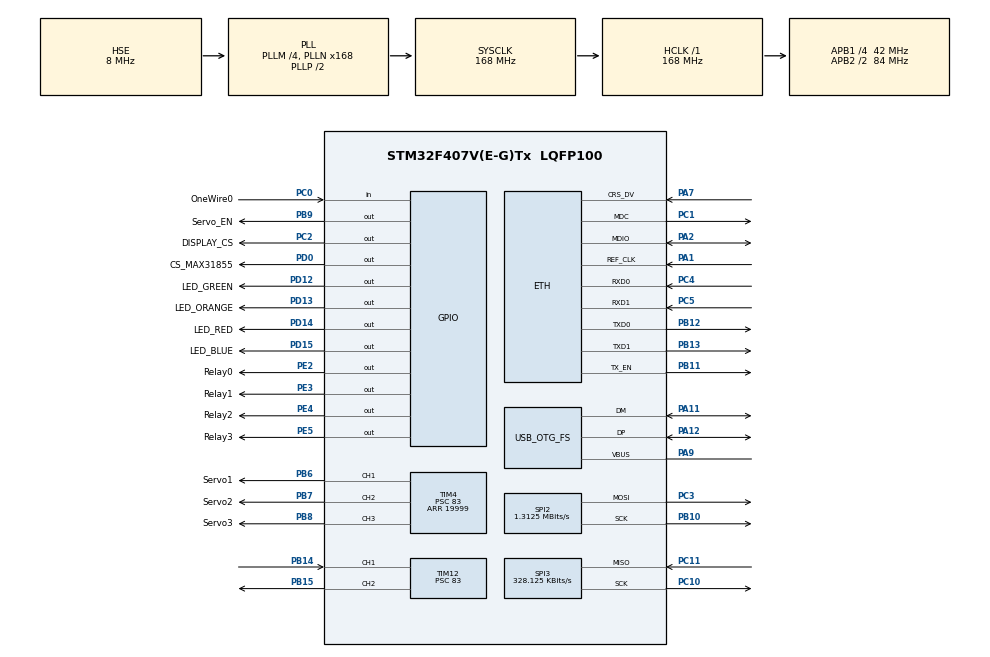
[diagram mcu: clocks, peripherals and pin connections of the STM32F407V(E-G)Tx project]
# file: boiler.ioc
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ETH.MACAddr=FC\:84\:E1\:56\:07\:81
ETH.MediaInterface=ETH_MEDIA_INTERFACE_RMII
ETH.PHY_Name_RMII=userPHY
ETH.PHY_User_Name=DP83848
FREERTOS.MEMORY_ALLOCATION=2
FREERTOS.Tasks01=defaultTask,0,512,StartDefaultTask,Default,NULL,Dynamic,NULL,NULL
FREERTOS.configGENERATE_RUN_TIME_STATS=1
FREERTOS.configTIMER_TASK_PRIORITY=3
FREERTOS.configTOTAL_HEAP_SIZE=32000
FREERTOS.configUSE_STATS_FORMATTING_FUNCTIONS=1
FREERTOS.configUSE_TIMERS=1
FREERTOS.configUSE_TRACE_FACILITY=1
LWIP.DEFAULT_THREAD_STACKSIZE=1024
LWIP.LWIP_DNS=1
LWIP.LWIP_HTTPD=1
LWIP.LWIP_NETIF_LINK_CALLBACK=1
LWIP.LWIP_NETIF_STATUS_CALLBACK=0
LWIP.TCPIP_THREAD_STACKSIZE=1024
LWIP.Version=v2.0.0_Cube
Mcu.Family=STM32F4
Mcu.Name=STM32F407V(E-G)Tx
Mcu.Package=LQFP100
NVIC.ETH_IRQn=true\:5\:0\:true\:false\:true\:true
NVIC.OTG_FS_IRQn=true\:5\:0\:true\:false\:true\:true
NVIC.PriorityGroup=NVIC_PRIORITYGROUP_4
NVIC.SPI2_IRQn=true\:9\:0\:true\:false\:true\:true
NVIC.SPI3_IRQn=true\:8\:0\:true\:false\:true\:true
NVIC.TIM1_UP_TIM10_IRQn=true\:0\:0\:false\:false\:true\:false
NVIC.TimeBase=TIM1_UP_TIM10_IRQn
NVIC.TimeBaseIP=TIM1
PA1.Mode=RMII
PA1.Signal=ETH_REF_CLK
PA11.Mode=Device_Only
PA11.Signal=USB_OTG_FS_DM
PA12.Mode=Device_Only
PA12.Signal=USB_OTG_FS_DP
PA2.Mode=RMII
PA2.Signal=ETH_MDIO
PA7.Mode=RMII
PA7.Signal=ETH_CRS_DV
PA9.Mode=Activate_VBUS
PA9.Signal=USB_OTG_FS_VBUS
PB10.Mode=TX_Only_Simplex_Unidirect_Master
PB10.Signal=SPI2_SCK
PB11.Mode=RMII
PB11.Signal=ETH_TX_EN
PB12.Mode=RMII
PB12.Signal=ETH_TXD0
PB13.Mode=RMII
PB13.Signal=ETH_TXD1
PB14.Signal=S_TIM12_CH1
PB15.Signal=S_TIM12_CH2
PB6.GPIO_Label=Servo1
PB6.GPIO_Speed=GPIO_SPEED_FREQ_VERY_HIGH
PB6.Signal=S_TIM4_CH1
PB7.GPIO_Label=Servo2
PB7.GPIO_Speed=GPIO_SPEED_FREQ_VERY_HIGH
PB7.Signal=S_TIM4_CH2
PB8.GPIO_Label=Servo3
PB8.GPIO_Speed=GPIO_SPEED_FREQ_VERY_HIGH
PB8.Signal=S_TIM4_CH3
PB9.GPIO_Label=Servo_EN
PB9.GPIO_Speed=GPIO_SPEED_FREQ_VERY_HIGH
PB9.Signal=GPIO_Output
PC0.GPIO_Label=OneWire0
PC0.GPIO_PuPd=GPIO_PULLUP
PC0.Signal=GPIO_Input
PC1.Mode=RMII
PC1.Signal=ETH_MDC
PC10.Mode=RX_Only_Simplex_Unidirect_Master
PC10.Signal=SPI3_SCK
PC11.Mode=RX_Only_Simplex_Unidirect_Master
PC11.Signal=SPI3_MISO
PC2.GPIO_Label=DISPLAY_CS
PC2.GPIO_Speed=GPIO_SPEED_FREQ_VERY_HIGH
PC2.PinState=GPIO_PIN_RESET
PC2.Signal=GPIO_Output
PC3.Mode=TX_Only_Simplex_Unidirect_Master
PC3.Signal=SPI2_MOSI
PC4.Mode=RMII
PC4.Signal=ETH_RXD0
PC5.Mode=RMII
PC5.Signal=ETH_RXD1
PD0.GPIO_Label=CS_MAX31855
PD0.GPIO_Speed=GPIO_SPEED_FREQ_VERY_HIGH
PD0.Signal=GPIO_Output
PD12.GPIO_Label=LED_GREEN
PD12.Signal=GPIO_Output
PD13.GPIO_Label=LED_ORANGE
PD13.Signal=GPIO_Output
PD14.GPIO_Label=LED_RED
PD14.Signal=GPIO_Output
PD15.GPIO_Label=LED_BLUE
PD15.Signal=GPIO_Output
PE2.GPIO_Label=Relay0
PE2.GPIO_ModeDefaultOutputPP=GPIO_MODE_OUTPUT_OD
PE2.GPIO_Speed=GPIO_SPEED_FREQ_LOW
PE2.PinState=GPIO_PIN_SET
PE2.Signal=GPIO_Output
PE3.GPIO_Label=Relay1
PE3.GPIO_ModeDefaultOutputPP=GPIO_MODE_OUTPUT_OD
PE3.PinState=GPIO_PIN_SET
PE3.Signal=GPIO_Output
PE4.GPIO_Label=Relay2
PE4.GPIO_ModeDefaultOutputPP=GPIO_MODE_OUTPUT_OD
PE4.PinState=GPIO_PIN_SET
PE4.Signal=GPIO_Output
PE5.GPIO_Label=Relay3
PE5.GPIO_ModeDefaultOutputPP=GPIO_MODE_OUTPUT_OD
PE5.PinState=GPIO_PIN_SET
PE5.Signal=GPIO_Output
PH0-OSC_IN.Mode=HSE-External-Oscillator
PH0-OSC_IN.Signal=RCC_OSC_IN
PH1-OSC_OUT.Mode=HSE-External-Oscillator
PH1-OSC_OUT.Signal=RCC_OSC_OUT
ProjectManager.HeapSize=0x200
ProjectManager.StackSize=0x400
ProjectManager.TargetToolchain=TrueSTUDIO
RCC.48MHZClocksFreq_Value=48000000
RCC.AHBFreq_Value=168000000
RCC.APB1CLKDivider=RCC_HCLK_DIV4
RCC.APB1Freq_Value=42000000
RCC.APB1TimFreq_Value=84000000
RCC.APB2CLKDivider=RCC_HCLK_DIV2
RCC.APB2Freq_Value=84000000
RCC.APB2TimFreq_Value=168000000
RCC.CortexFreq_Value=168000000
RCC.HCLKFreq_Value=168000000
RCC.HSE_VALUE=8000000
RCC.HSI_VALUE=16000000
RCC.LSE_VALUE=32768
RCC.PLLM=4
RCC.PLLN=168
RCC.PLLQ=7
RCC.SYSCLKFreq_VALUE=168000000
RCC.SYSCLKSource=RCC_SYSCLKSOURCE_PLLCLK
RCC.VCOOutputFreq_Value=336000000
SH.S_TIM12_CH1.0=TIM12_CH1,TriggerSource_TI1FP1
SH.S_TIM12_CH1.1=TIM12_CH1,Input_Capture1_from_TI1
SH.S_TIM12_CH2.0=TIM12_CH2,PWM Generation2 CH2
SH.S_TIM4_CH1.0=TIM4_CH1,PWM Generation1 CH1
SH.S_TIM4_CH2.0=TIM4_CH2,PWM Generation2 CH2
SH.S_TIM4_CH3.0=TIM4_CH3,PWM Generation3 CH3
SPI2.BaudRatePrescaler=SPI_BAUDRATEPRESCALER_32
SPI2.CLKPhase=SPI_PHASE_2EDGE
SPI2.CalculateBaudRate=1.3125 MBits/s
SPI2.Direction=SPI_DIRECTION_2LINES
SPI2.Mode=SPI_MODE_MASTER
SPI2.VirtualType=VM_MASTER
SPI3.BaudRatePrescaler=SPI_BAUDRATEPRESCALER_128
SPI3.CLKPhase=SPI_PHASE_1EDGE
SPI3.CalculateBaudRate=328.125 KBits/s
SPI3.DataSize=SPI_DATASIZE_8BIT
SPI3.Direction=SPI_DIRECTION_2LINES_RXONLY
SPI3.Mode=SPI_MODE_MASTER
SPI3.VirtualType=VM_MASTER
TIM12.Channel-Input_Capture1_from_TI1=TIM_CHANNEL_1
TIM12.Channel-PWM\ Generation2\ CH2=TIM_CHANNEL_2
TIM12.OCPolarity_2=TIM_OCPOLARITY_LOW
TIM12.Period=9999
TIM12.Prescaler=83
TIM12.Pulse-PWM\ Generation2\ CH2=9999
TIM4.Channel-PWM\ Generation1\ CH1=TIM_CHANNEL_1
TIM4.Channel-PWM\ Generation2\ CH2=TIM_CHANNEL_2
TIM4.Channel-PWM\ Generation3\ CH3=TIM_CHANNEL_3
TIM4.Period=19999
TIM4.Prescaler=83
TIM4.Pulse-PWM\ Generation1\ CH1=1500
TIM4.Pulse-PWM\ Generation2\ CH2=1500
TIM4.Pulse-PWM\ Generation3\ CH3=1500
USB_DEVICE.CLASS_NAME_FS=CDC
USB_DEVICE.MANUFACTURER_STRING-CDC_FS=by S.D.
USB_DEVICE.PRODUCT_STRING_CDC_FS=SD VCP
USB_DEVICE.VirtualModeFS=Cdc_FS
USB_OTG_FS.VirtualMode=Device_Only
VP_FREERTOS_VS_ENABLE.Mode=Enabled
VP_LWIP_VS_Enabled.Mode=Enabled
VP_SYS_VS_tim1.Mode=TIM1
VP_TIM12_VS_ControllerModeReset.Mode=Reset Mode
VP_TIM4_VS_ClockSourceINT.Mode=Internal
VP_USB_DEVICE_VS_USB_DEVICE_CDC_FS.Mode=CDC_FS
board=boiler

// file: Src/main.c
/**
  ******************************************************************************
  * File Name          : main.c
  * Description        : Main program body
  ******************************************************************************
  * This notice applies to any and all portions of this file
  * that are not between comment pairs USER CODE BEGIN and
  * USER CODE END. Other portions of this file, whether
  * inserted by the user or by software development tools
  * are owned by their respective copyright owners.
  *
  * Copyright (c) 2017 STMicroelectronics International N.V.
  * All rights reserved.
  *
  * Redistribution and use in source and binary forms, with or without
  * modification, are permitted, provided that the following conditions are met:
  *
  * 1. Redistribution of source code must retain the above copyright notice,
  *    this list of conditions and the following disclaimer.
  * 2. Redistributions in binary form must reproduce the above copyright notice,
  *    this list of conditions and the following disclaimer in the documentation
  *    and/or other materials provided with the distribution.
  * 3. Neither the name of STMicroelectronics nor the names of other
  *    contributors to this software may be used to endorse or promote products
  *    derived from this software without specific written permission.
  * 4. This software, including modifications and/or derivative works of this
  *    software, must execute solely and exclusively on microcontroller or
  *    microprocessor devices manufactured by or for STMicroelectronics.
  * 5. Redistribution and use of this software other than as permitted under
  *    this license is void and will automatically terminate your rights under
  *    this license.
  *
  * THIS SOFTWARE IS PROVIDED BY STMICROELECTRONICS AND CONTRIBUTORS "AS IS"
  * AND ANY EXPRESS, IMPLIED OR STATUTORY WARRANTIES, INCLUDING, BUT NOT
  * LIMITED TO, THE IMPLIED WARRANTIES OF MERCHANTABILITY, FITNESS FOR A
  * PARTICULAR PURPOSE AND NON-INFRINGEMENT OF THIRD PARTY INTELLECTUAL PROPERTY
  * RIGHTS ARE DISCLAIMED TO THE FULLEST EXTENT PERMITTED BY LAW. IN NO EVENT
  * SHALL STMICROELECTRONICS OR CONTRIBUTORS BE LIABLE FOR ANY DIRECT, INDIRECT,
  * INCIDENTAL, SPECIAL, EXEMPLARY, OR CONSEQUENTIAL DAMAGES (INCLUDING, BUT NOT
  * LIMITED TO, PROCUREMENT OF SUBSTITUTE GOODS OR SERVICES; LOSS OF USE, DATA,
  * OR PROFITS; OR BUSINESS INTERRUPTION) HOWEVER CAUSED AND ON ANY THEORY OF
  * LIABILITY, WHETHER IN CONTRACT, STRICT LIABILITY, OR TORT (INCLUDING
  * NEGLIGENCE OR OTHERWISE) ARISING IN ANY WAY OUT OF THE USE OF THIS SOFTWARE,
  * EVEN IF ADVISED OF THE POSSIBILITY OF SUCH DAMAGE.
  *
  ******************************************************************************
  */
#include "main.h"
#include "stm32f4xx_hal.h"
#include "cmsis_os.h"
#include "lwip.h"
#include "usb_device.h"

/* USER CODE BEGIN Includes */
#include "u8g_stm32_hal.h"
#include "tm_stm32_ds18b20.h"
#include "max31855_stm32_hal.h"
#include "httpcgi.h"
#include "acpowerctrl.h"
/* USER CODE END Includes */

SPI_HandleTypeDef hspi2;
SPI_HandleTypeDef hspi3;

TIM_HandleTypeDef htim4;
TIM_HandleTypeDef htim12;

osThreadId defaultTaskHandle;

/* USER CODE BEGIN PV */
/* Private variables ---------------------------------------------------------*/
u8g_t u8g;
extern struct netif gnetif;
/* USER CODE END PV */

void SystemClock_Config(void);
static void MX_GPIO_Init(void);
static void MX_SPI2_Init(void);
static void MX_SPI3_Init(void);
static void MX_TIM4_Init(void);
static void MX_TIM12_Init(void);
void StartDefaultTask(void const * argument);

void HAL_TIM_MspPostInit(TIM_HandleTypeDef *htim);

/* USER CODE BEGIN PFP */
/* Private function prototypes -----------------------------------------------*/
void max_tc_init();

/* USER CODE END PFP */

int main(void)
{

    /* MCU Configuration----------------------------------------------------------*/

    /* Reset of all peripherals, Initializes the Flash interface and the Systick. */
    HAL_Init();

    /* Configure the system clock */
    SystemClock_Config();

  /* Initialize all configured peripherals */
  MX_GPIO_Init();
  MX_SPI2_Init();
  MX_SPI3_Init();
  MX_TIM4_Init();
  MX_TIM12_Init();

    /* USER CODE BEGIN 2 */
    max_tc_init();
    acInit(&htim12);
  /* USER CODE END 2 */

    /* Create the thread(s) */
    /* definition and creation of defaultTask */
    osThreadDef(defaultTask, StartDefaultTask, osPriorityNormal, 0, 512);
    defaultTaskHandle = osThreadCreate(osThread(defaultTask), NULL);

    /* Start scheduler */
    osKernelStart();

    /* We should never get here as control is now taken by the scheduler */

    /* Infinite loop */
    while (1)
    {

    }

}

/** System Clock Configuration
*/
void SystemClock_Config(void)
{

    RCC_OscInitTypeDef RCC_OscInitStruct;
    RCC_ClkInitTypeDef RCC_ClkInitStruct;

    /**Configure the main internal regulator output voltage
    */
    __HAL_RCC_PWR_CLK_ENABLE();

    __HAL_PWR_VOLTAGESCALING_CONFIG(PWR_REGULATOR_VOLTAGE_SCALE1);

    /**Initializes the CPU, AHB and APB busses clocks
    */
    RCC_OscInitStruct.OscillatorType = RCC_OSCILLATORTYPE_HSE;
    RCC_OscInitStruct.HSEState = RCC_HSE_ON;
    RCC_OscInitStruct.PLL.PLLState = RCC_PLL_ON;
    RCC_OscInitStruct.PLL.PLLSource = RCC_PLLSOURCE_HSE;
    RCC_OscInitStruct.PLL.PLLM = 4;
    RCC_OscInitStruct.PLL.PLLN = 168;
    RCC_OscInitStruct.PLL.PLLP = RCC_PLLP_DIV2;
    RCC_OscInitStruct.PLL.PLLQ = 7;
    if (HAL_RCC_OscConfig(&RCC_OscInitStruct) != HAL_OK)
    {
        _Error_Handler(__FILE__, __LINE__);
    }

    /**Initializes the CPU, AHB and APB busses clocks
    */
    RCC_ClkInitStruct.ClockType = RCC_CLOCKTYPE_HCLK|RCC_CLOCKTYPE_SYSCLK
            |RCC_CLOCKTYPE_PCLK1|RCC_CLOCKTYPE_PCLK2;
    RCC_ClkInitStruct.SYSCLKSource = RCC_SYSCLKSOURCE_PLLCLK;
    RCC_ClkInitStruct.AHBCLKDivider = RCC_SYSCLK_DIV1;
    RCC_ClkInitStruct.APB1CLKDivider = RCC_HCLK_DIV4;
    RCC_ClkInitStruct.APB2CLKDivider = RCC_HCLK_DIV2;

    if (HAL_RCC_ClockConfig(&RCC_ClkInitStruct, FLASH_LATENCY_5) != HAL_OK)
    {
        _Error_Handler(__FILE__, __LINE__);
    }

    /**Configure the Systick interrupt time
    */
    HAL_SYSTICK_Config(HAL_RCC_GetHCLKFreq()/1000);

    /**Configure the Systick
    */
    HAL_SYSTICK_CLKSourceConfig(SYSTICK_CLKSOURCE_HCLK);

    /* SysTick_IRQn interrupt configuration */
    HAL_NVIC_SetPriority(SysTick_IRQn, 15, 0);
}

/* SPI2 init function */
static void MX_SPI2_Init(void)
{

    hspi2.Instance = SPI2;
    hspi2.Init.Mode = SPI_MODE_MASTER;
    hspi2.Init.Direction = SPI_DIRECTION_2LINES;
    hspi2.Init.DataSize = SPI_DATASIZE_8BIT;
    hspi2.Init.CLKPolarity = SPI_POLARITY_LOW;
    hspi2.Init.CLKPhase = SPI_PHASE_2EDGE;
    hspi2.Init.NSS = SPI_NSS_SOFT;
    hspi2.Init.BaudRatePrescaler = SPI_BAUDRATEPRESCALER_32;
    hspi2.Init.FirstBit = SPI_FIRSTBIT_MSB;
    hspi2.Init.TIMode = SPI_TIMODE_DISABLE;
    hspi2.Init.CRCCalculation = SPI_CRCCALCULATION_DISABLE;
    hspi2.Init.CRCPolynomial = 10;
    if (HAL_SPI_Init(&hspi2) != HAL_OK)
    {
        _Error_Handler(__FILE__, __LINE__);
    }

}

/* SPI3 init function */
static void MX_SPI3_Init(void)
{

    hspi3.Instance = SPI3;
    hspi3.Init.Mode = SPI_MODE_MASTER;
    hspi3.Init.Direction = SPI_DIRECTION_2LINES_RXONLY;
    hspi3.Init.DataSize = SPI_DATASIZE_8BIT;
    hspi3.Init.CLKPolarity = SPI_POLARITY_LOW;
    hspi3.Init.CLKPhase = SPI_PHASE_1EDGE;
    hspi3.Init.NSS = SPI_NSS_SOFT;
    hspi3.Init.BaudRatePrescaler = SPI_BAUDRATEPRESCALER_128;
    hspi3.Init.FirstBit = SPI_FIRSTBIT_MSB;
    hspi3.Init.TIMode = SPI_TIMODE_DISABLE;
    hspi3.Init.CRCCalculation = SPI_CRCCALCULATION_DISABLE;
    hspi3.Init.CRCPolynomial = 10;
    if (HAL_SPI_Init(&hspi3) != HAL_OK)
    {
        _Error_Handler(__FILE__, __LINE__);
    }

}

/* TIM4 init function */
static void MX_TIM4_Init(void)
{
  TIM_ClockConfigTypeDef sClockSourceConfig;
  TIM_MasterConfigTypeDef sMasterConfig;
  TIM_OC_InitTypeDef sConfigOC;

  htim4.Instance = TIM4;
  htim4.Init.Prescaler = 83;
  htim4.Init.CounterMode = TIM_COUNTERMODE_UP;
  htim4.Init.Period = 19999;
  htim4.Init.ClockDivision = TIM_CLOCKDIVISION_DIV1;
  if (HAL_TIM_Base_Init(&htim4) != HAL_OK)
  {
    _Error_Handler(__FILE__, __LINE__);
  }

  sClockSourceConfig.ClockSource = TIM_CLOCKSOURCE_INTERNAL;
  if (HAL_TIM_ConfigClockSource(&htim4, &sClockSourceConfig) != HAL_OK)
  {
    _Error_Handler(__FILE__, __LINE__);
  }

  if (HAL_TIM_PWM_Init(&htim4) != HAL_OK)
  {
    _Error_Handler(__FILE__, __LINE__);
  }

  sMasterConfig.MasterOutputTrigger = TIM_TRGO_RESET;
  sMasterConfig.MasterSlaveMode = TIM_MASTERSLAVEMODE_DISABLE;
  if (HAL_TIMEx_MasterConfigSynchronization(&htim4, &sMasterConfig) != HAL_OK)
  {
    _Error_Handler(__FILE__, __LINE__);
  }

  sConfigOC.OCMode = TIM_OCMODE_PWM1;
  sConfigOC.Pulse = 1500;
  sConfigOC.OCPolarity = TIM_OCPOLARITY_HIGH;
  sConfigOC.OCFastMode = TIM_OCFAST_DISABLE;
  if (HAL_TIM_PWM_ConfigChannel(&htim4, &sConfigOC, TIM_CHANNEL_1) != HAL_OK)
  {
    _Error_Handler(__FILE__, __LINE__);
  }

  if (HAL_TIM_PWM_ConfigChannel(&htim4, &sConfigOC, TIM_CHANNEL_2) != HAL_OK)
  {
    _Error_Handler(__FILE__, __LINE__);
  }

  if (HAL_TIM_PWM_ConfigChannel(&htim4, &sConfigOC, TIM_CHANNEL_3) != HAL_OK)
  {
    _Error_Handler(__FILE__, __LINE__);
  }

  HAL_TIM_MspPostInit(&htim4);

}

/* TIM12 init function */
static void MX_TIM12_Init(void)
{

  TIM_SlaveConfigTypeDef sSlaveConfig;
  TIM_IC_InitTypeDef sConfigIC;
  TIM_OC_InitTypeDef sConfigOC;

  htim12.Instance = TIM12;
  htim12.Init.Prescaler = 83;
  htim12.Init.CounterMode = TIM_COUNTERMODE_UP;
  htim12.Init.Period = 9999;
  htim12.Init.ClockDivision = TIM_CLOCKDIVISION_DIV1;
  if (HAL_TIM_Base_Init(&htim12) != HAL_OK)
  {
    _Error_Handler(__FILE__, __LINE__);
  }

  if (HAL_TIM_IC_Init(&htim12) != HAL_OK)
  {
    _Error_Handler(__FILE__, __LINE__);
  }

  if (HAL_TIM_PWM_Init(&htim12) != HAL_OK)
  {
    _Error_Handler(__FILE__, __LINE__);
  }

  sSlaveConfig.SlaveMode = TIM_SLAVEMODE_RESET;
  sSlaveConfig.InputTrigger = TIM_TS_TI1FP1;
  sSlaveConfig.TriggerPolarity = TIM_INPUTCHANNELPOLARITY_RISING;
  sSlaveConfig.TriggerFilter = 0;
  if (HAL_TIM_SlaveConfigSynchronization(&htim12, &sSlaveConfig) != HAL_OK)
  {
    _Error_Handler(__FILE__, __LINE__);
  }

  sConfigIC.ICPolarity = TIM_INPUTCHANNELPOLARITY_RISING;
  sConfigIC.ICSelection = TIM_ICSELECTION_DIRECTTI;
  sConfigIC.ICPrescaler = TIM_ICPSC_DIV1;
  sConfigIC.ICFilter = 0;
  if (HAL_TIM_IC_ConfigChannel(&htim12, &sConfigIC, TIM_CHANNEL_1) != HAL_OK)
  {
    _Error_Handler(__FILE__, __LINE__);
  }

  sConfigOC.OCMode = TIM_OCMODE_PWM1;
  sConfigOC.Pulse = 9999;
  sConfigOC.OCPolarity = TIM_OCPOLARITY_LOW;
  sConfigOC.OCFastMode = TIM_OCFAST_DISABLE;
  if (HAL_TIM_PWM_ConfigChannel(&htim12, &sConfigOC, TIM_CHANNEL_2) != HAL_OK)
  {
    _Error_Handler(__FILE__, __LINE__);
  }

  HAL_TIM_MspPostInit(&htim12);

}

/** Configure pins as
        * Analog
        * Input
=======
    TIM_ClockConfigTypeDef sClockSourceConfig;
    TIM_MasterConfigTypeDef sMasterConfig;
    TIM_OC_InitTypeDef sConfigOC;

    htim4.Instance = TIM4;
    htim4.Init.Prescaler = 84; //todo: prescaler 83, period 19999
    htim4.Init.CounterMode = TIM_COUNTERMODE_UP;
    htim4.Init.Period = 20000;
    htim4.Init.ClockDivision = TIM_CLOCKDIVISION_DIV1;
    if (HAL_TIM_Base_Init(&htim4) != HAL_OK)
    {
        _Error_Handler(__FILE__, __LINE__);
    }

    sClockSourceConfig.ClockSource = TIM_CLOCKSOURCE_INTERNAL;
    if (HAL_TIM_ConfigClockSource(&htim4, &sClockSourceConfig) != HAL_OK)
    {
        _Error_Handler(__FILE__, __LINE__);
    }

    if (HAL_TIM_PWM_Init(&htim4) != HAL_OK)
    {
        _Error_Handler(__FILE__, __LINE__);
    }

    sMasterConfig.MasterOutputTrigger = TIM_TRGO_RESET;
    sMasterConfig.MasterSlaveMode = TIM_MASTERSLAVEMODE_DISABLE;
    if (HAL_TIMEx_MasterConfigSynchronization(&htim4, &sMasterConfig) != HAL_OK)
    {
        _Error_Handler(__FILE__, __LINE__);
    }

    sConfigOC.OCMode = TIM_OCMODE_PWM1;
    sConfigOC.Pulse = 1500;
    sConfigOC.OCPolarity = TIM_OCPOLARITY_HIGH;
    sConfigOC.OCFastMode = TIM_OCFAST_DISABLE;
    if (HAL_TIM_PWM_ConfigChannel(&htim4, &sConfigOC, TIM_CHANNEL_1) != HAL_OK)
    {
        _Error_Handler(__FILE__, __LINE__);
    }

    if (HAL_TIM_PWM_ConfigChannel(&htim4, &sConfigOC, TIM_CHANNEL_2) != HAL_OK)
    {
        _Error_Handler(__FILE__, __LINE__);
    }

    if (HAL_TIM_PWM_ConfigChannel(&htim4, &sConfigOC, TIM_CHANNEL_3) != HAL_OK)
    {
        _Error_Handler(__FILE__, __LINE__);
    }

    HAL_TIM_MspPostInit(&htim4);

}

/** Configure pins as
        * Analog
        * Input
>>>>>>> origin/master
        * Output
        * EVENT_OUT
        * EXTI
*/
static void MX_GPIO_Init(void)
{

    GPIO_InitTypeDef GPIO_InitStruct;

    /* GPIO Ports Clock Enable */
    __HAL_RCC_GPIOE_CLK_ENABLE();
    __HAL_RCC_GPIOH_CLK_ENABLE();
    __HAL_RCC_GPIOC_CLK_ENABLE();
    __HAL_RCC_GPIOA_CLK_ENABLE();
    __HAL_RCC_GPIOB_CLK_ENABLE();
    __HAL_RCC_GPIOD_CLK_ENABLE();

    /*Configure GPIO pin Output Level */
    HAL_GPIO_WritePin(GPIOE, Relay0_Pin|Relay1_Pin|Relay2_Pin|Relay3_Pin, GPIO_PIN_SET);

    /*Configure GPIO pin Output Level */
    HAL_GPIO_WritePin(DISPLAY_CS_GPIO_Port, DISPLAY_CS_Pin, GPIO_PIN_RESET);

    /*Configure GPIO pin Output Level */
    HAL_GPIO_WritePin(GPIOD, LED_GREEN_Pin|LED_ORANGE_Pin|LED_RED_Pin|LED_BLUE_Pin
                      |CS_MAX31855_Pin, GPIO_PIN_RESET);

    /*Configure GPIO pin Output Level */
    HAL_GPIO_WritePin(Servo_EN_GPIO_Port, Servo_EN_Pin, GPIO_PIN_RESET);

    /*Configure GPIO pins : Relay0_Pin Relay1_Pin Relay2_Pin Relay3_Pin */
    GPIO_InitStruct.Pin = Relay0_Pin|Relay1_Pin|Relay2_Pin|Relay3_Pin;
    GPIO_InitStruct.Mode = GPIO_MODE_OUTPUT_OD;
    GPIO_InitStruct.Pull = GPIO_NOPULL;
    GPIO_InitStruct.Speed = GPIO_SPEED_FREQ_LOW;
    HAL_GPIO_Init(GPIOE, &GPIO_InitStruct);

    /*Configure GPIO pin : OneWire0_Pin */
    GPIO_InitStruct.Pin = OneWire0_Pin;
    GPIO_InitStruct.Mode = GPIO_MODE_INPUT;
    GPIO_InitStruct.Pull = GPIO_PULLUP;
    HAL_GPIO_Init(OneWire0_GPIO_Port, &GPIO_InitStruct);

    /*Configure GPIO pin : DISPLAY_CS_Pin */
    GPIO_InitStruct.Pin = DISPLAY_CS_Pin;
    GPIO_InitStruct.Mode = GPIO_MODE_OUTPUT_PP;
    GPIO_InitStruct.Pull = GPIO_NOPULL;
    GPIO_InitStruct.Speed = GPIO_SPEED_FREQ_VERY_HIGH;
    HAL_GPIO_Init(DISPLAY_CS_GPIO_Port, &GPIO_InitStruct);

    /*Configure GPIO pins : LED_GREEN_Pin LED_ORANGE_Pin LED_RED_Pin LED_BLUE_Pin */
    GPIO_InitStruct.Pin = LED_GREEN_Pin|LED_ORANGE_Pin|LED_RED_Pin|LED_BLUE_Pin;
    GPIO_InitStruct.Mode = GPIO_MODE_OUTPUT_PP;
    GPIO_InitStruct.Pull = GPIO_NOPULL;
    GPIO_InitStruct.Speed = GPIO_SPEED_FREQ_LOW;
    HAL_GPIO_Init(GPIOD, &GPIO_InitStruct);

    /*Configure GPIO pin : CS_MAX31855_Pin */
    GPIO_InitStruct.Pin = CS_MAX31855_Pin;
    GPIO_InitStruct.Mode = GPIO_MODE_OUTPUT_PP;
    GPIO_InitStruct.Pull = GPIO_NOPULL;
    GPIO_InitStruct.Speed = GPIO_SPEED_FREQ_VERY_HIGH;
    HAL_GPIO_Init(CS_MAX31855_GPIO_Port, &GPIO_InitStruct);

    /*Configure GPIO pin : Servo_EN_Pin */
    GPIO_InitStruct.Pin = Servo_EN_Pin;
    GPIO_InitStruct.Mode = GPIO_MODE_OUTPUT_PP;
    GPIO_InitStruct.Pull = GPIO_NOPULL;
    GPIO_InitStruct.Speed = GPIO_SPEED_FREQ_VERY_HIGH;
    HAL_GPIO_Init(Servo_EN_GPIO_Port, &GPIO_InitStruct);

}

/* USER CODE BEGIN 4 */
max31855_h maxtc;

void max_tc_init()
{
    maxtc.hspi = &hspi3;
    maxtc.CS_port = CS_MAX31855_GPIO_Port;
    maxtc.CS_pin = CS_MAX31855_Pin;
    max31855_init(&maxtc);
}

void HAL_SPI_RxCpltCallback(SPI_HandleTypeDef *hspi)
{
    if(hspi == maxtc.hspi)
        max31855_recvd_handler(&maxtc);
}

/* USER CODE END 4 */

/* StartDefaultTask function */
void StartDefaultTask(void const * argument)
{
    /* init code for LWIP */
    MX_LWIP_Init();

    /* init code for USB_DEVICE */
    MX_USB_DEVICE_Init();

    /* USER CODE BEGIN 5 */

    /* Onewire structure */
    TM_OneWire_t OW;
    /* Array for DS18B20 ROM number */
    uint8_t DS_ROM[8];
    /* Temperature variable */
    float temp;

    u8g_setSpiIface(&hspi2,DISPLAY_CS_GPIO_Port,DISPLAY_CS_Pin);
    u8g_InitComFn(&u8g, &u8g_dev_st7920_128x64_hw_spi, u8g_com_STM32_hal_hw_fn);
    u8g_SetRot180(&u8g);

    TM_OneWire_Init(&OW, OneWire0_GPIO_Port, OneWire0_Pin);

    //    struct tcp_pcb * server =
    //initServer(1500);
    initHttpCgiServer();

    uint32_t i = 0;

    /* Infinite loop */
    for(;;)
    {
        i++;

//        uint8_t ret = 0;
//        if (TM_OneWire_First(&OW))
//            TM_OneWire_GetFullROM(&OW, DS_ROM);
//        if (TM_DS18B20_Is(DS_ROM))
//            /* Everything is done */
//            if (TM_DS18B20_AllDone(&OW))
//                /* Read temperature from device */
//                if (TM_DS18B20_Read(&OW, DS_ROM, &temp)){
//                    ret = 1;
//                    TM_DS18B20_StartAll(&OW);
//                }

        char buff[45];

        static uint16_t fps_counter = 0;
        fps_counter++;

        u8g_FirstPage(&u8g);
        do
        {

//            u8g_SetFont(&u8g, u8g_font_6x10);//выбор шрифта
//            if (ret) {
//                sprintf(buff, "..:%X:%X", DS_ROM[1],DS_ROM[0]);
//                u8g_DrawStr(&u8g, 2, 12, buff);
//                sprintf(buff, "Temp: %ld,%02ld`C", (int32_t)temp, ((int32_t)(temp*100)%100));
//                u8g_DrawStr(&u8g, 40, 12, buff);

//            }
//            else {
//                u8g_DrawStr(&u8g, 2, 12, "Nothing on line");;
//            }

            /*** fps counter ***/
#define FPS_COUNTER_PERIOD 1000
#define MSEC_IN_SEC 1000

            static uint16_t fps = 0;
            static uint32_t last_time = 0;
            uint32_t time = HAL_GetTick() - last_time;
            if (time >= FPS_COUNTER_PERIOD){
                last_time = HAL_GetTick();
                fps = (fps_counter*MSEC_IN_SEC)/time;
                fps_counter = 0;
            }
            u8g_SetFont(&u8g, u8g_font_5x7);
            sprintf(buff, "fps:%d", fps);
            u8g_DrawStr(&u8g, 95, 12, buff);
            /*****/

            /*** network ***/
            u8g_SetFont(&u8g, u8g_font_6x10);
            sprintf(buff, "Stat: %d %d %d %d",
                    (gnetif.flags&0x8)>>3, (gnetif.flags&0x4)>>2,
                    (gnetif.flags&0x2)>>1, gnetif.flags&0x1);
            u8g_DrawStr(&u8g, 2, 36, buff);

            sprintf(buff, "%lu", i);
            u8g_DrawStr90(&u8g, 115, 18, buff);

            sprintf(buff, "ip: %d.%d.%d.%d", ip4_addr1(&gnetif.ip_addr), ip4_addr2(&gnetif.ip_addr), ip4_addr3(&gnetif.ip_addr), ip4_addr4(&gnetif.ip_addr));
            u8g_DrawStr(&u8g, 2, 48, buff);

            sprintf(buff, "er: %d%d%d%d", maxtc.err>>3&0x1, maxtc.err>>2&0x1,
                    maxtc.err>>1&0x1, maxtc.err&0x1);
            u8g_DrawStr(&u8g, 70, 60, buff);
            /*****/

            /*** max31855 ***/
            u8g_SetFont(&u8g, u8g_font_4x6);//выбор шрифта

            sprintf(buff, "slf: %d", (uint16_t)max31855_getSelfTemp(&maxtc));
            u8g_DrawStr(&u8g, 2, 56, buff);

            sprintf(buff, "tc:  %d", (int16_t)max31855_getTemp(&maxtc));
            u8g_DrawStr(&u8g, 2, 62, buff);
            /*****/

        } while ( u8g_NextPage(&u8g) );

    }
    /* USER CODE END 5 */
}

void HAL_TIM_PeriodElapsedCallback(TIM_HandleTypeDef *htim)
{
    if (htim->Instance == TIM1) {
        HAL_IncTick();
    }
}

void _Error_Handler(char * file, int line)
{
    while(1)
    {
    }
}

/************************ (C) COPYRIGHT STMicroelectronics *****END OF FILE****/

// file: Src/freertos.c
/**
  ******************************************************************************
  * File Name          : freertos.c
  * Description        : Code for freertos applications
  ******************************************************************************
  * This notice applies to any and all portions of this file
  * that are not between comment pairs USER CODE BEGIN and
  * USER CODE END. Other portions of this file, whether
  * inserted by the user or by software development tools
  * are owned by their respective copyright owners.
  *
  * Copyright (c) 2017 STMicroelectronics International N.V.
  * All rights reserved.
  *
  * Redistribution and use in source and binary forms, with or without
  * modification, are permitted, provided that the following conditions are met:
  *
  * 1. Redistribution of source code must retain the above copyright notice,
  *    this list of conditions and the following disclaimer.
  * 2. Redistributions in binary form must reproduce the above copyright notice,
  *    this list of conditions and the following disclaimer in the documentation
  *    and/or other materials provided with the distribution.
  * 3. Neither the name of STMicroelectronics nor the names of other
  *    contributors to this software may be used to endorse or promote products
  *    derived from this software without specific written permission.
  * 4. This software, including modifications and/or derivative works of this
  *    software, must execute solely and exclusively on microcontroller or
  *    microprocessor devices manufactured by or for STMicroelectronics.
  * 5. Redistribution and use of this software other than as permitted under
  *    this license is void and will automatically terminate your rights under
  *    this license.
  *
  * THIS SOFTWARE IS PROVIDED BY STMICROELECTRONICS AND CONTRIBUTORS "AS IS"
  * AND ANY EXPRESS, IMPLIED OR STATUTORY WARRANTIES, INCLUDING, BUT NOT
  * LIMITED TO, THE IMPLIED WARRANTIES OF MERCHANTABILITY, FITNESS FOR A
  * PARTICULAR PURPOSE AND NON-INFRINGEMENT OF THIRD PARTY INTELLECTUAL PROPERTY
  * RIGHTS ARE DISCLAIMED TO THE FULLEST EXTENT PERMITTED BY LAW. IN NO EVENT
  * SHALL STMICROELECTRONICS OR CONTRIBUTORS BE LIABLE FOR ANY DIRECT, INDIRECT,
  * INCIDENTAL, SPECIAL, EXEMPLARY, OR CONSEQUENTIAL DAMAGES (INCLUDING, BUT NOT
  * LIMITED TO, PROCUREMENT OF SUBSTITUTE GOODS OR SERVICES; LOSS OF USE, DATA,
  * OR PROFITS; OR BUSINESS INTERRUPTION) HOWEVER CAUSED AND ON ANY THEORY OF
  * LIABILITY, WHETHER IN CONTRACT, STRICT LIABILITY, OR TORT (INCLUDING
  * NEGLIGENCE OR OTHERWISE) ARISING IN ANY WAY OUT OF THE USE OF THIS SOFTWARE,
  * EVEN IF ADVISED OF THE POSSIBILITY OF SUCH DAMAGE.
  *
  ******************************************************************************
  */

#include "FreeRTOS.h"
#include "task.h"

/* USER CODE BEGIN Includes */
#include "stm32f4xx_hal.h"
/* USER CODE END Includes */

/* USER CODE BEGIN Variables */
TIM_HandleTypeDef htim14;
/* USER CODE END Variables */

/* GetIdleTaskMemory prototype (linked to static allocation support) */
void vApplicationGetIdleTaskMemory( StaticTask_t **ppxIdleTaskTCBBuffer, StackType_t **ppxIdleTaskStackBuffer, uint32_t *pulIdleTaskStackSize );

/* GetTimerTaskMemory prototype (linked to static allocation support) */
void vApplicationGetTimerTaskMemory( StaticTask_t **ppxTimerTaskTCBBuffer, StackType_t **ppxTimerTaskStackBuffer, uint32_t *pulTimerTaskStackSize );

/* Hook prototypes */
void configureTimerForRunTimeStats(void);
unsigned long getRunTimeCounterValue(void);

/* USER CODE BEGIN 1 */
/* Functions needed when configGENERATE_RUN_TIME_STATS is on */
//__weak
void configureTimerForRunTimeStats(void)
{
    __HAL_RCC_TIM14_CLK_ENABLE();

    htim14.Instance = TIM14;
    htim14.Init.Prescaler = 84;
    htim14.Init.CounterMode = TIM_COUNTERMODE_UP;
    htim14.Init.Period = 0xffff;
    htim14.Init.ClockDivision = TIM_CLOCKDIVISION_DIV1;
    HAL_TIM_Base_Init(&htim14);
    HAL_TIM_Base_Start(&htim14);
}

//__weak
unsigned long getRunTimeCounterValue(void)
{
    return __HAL_TIM_GET_COUNTER(&htim14);
}
/* USER CODE END 1 */

/* USER CODE BEGIN GET_IDLE_TASK_MEMORY */
static StaticTask_t xIdleTaskTCBBuffer;
static StackType_t xIdleStack[configMINIMAL_STACK_SIZE];

void vApplicationGetIdleTaskMemory( StaticTask_t **ppxIdleTaskTCBBuffer, StackType_t **ppxIdleTaskStackBuffer, uint32_t *pulIdleTaskStackSize )
{
  *ppxIdleTaskTCBBuffer = &xIdleTaskTCBBuffer;
  *ppxIdleTaskStackBuffer = &xIdleStack[0];
  *pulIdleTaskStackSize = configMINIMAL_STACK_SIZE;
  /* place for user code */
}
/* USER CODE END GET_IDLE_TASK_MEMORY */

/* USER CODE BEGIN GET_TIMER_TASK_MEMORY */
static StaticTask_t xTimerTaskTCBBuffer;
static StackType_t xTimerStack[configTIMER_TASK_STACK_DEPTH];

void vApplicationGetTimerTaskMemory( StaticTask_t **ppxTimerTaskTCBBuffer, StackType_t **ppxTimerTaskStackBuffer, uint32_t *pulTimerTaskStackSize )
{
  *ppxTimerTaskTCBBuffer = &xTimerTaskTCBBuffer;
  *ppxTimerTaskStackBuffer = &xTimerStack[0];
  *pulTimerTaskStackSize = configTIMER_TASK_STACK_DEPTH;
  /* place for user code */
}
/* USER CODE END GET_TIMER_TASK_MEMORY */

/************************ (C) COPYRIGHT STMicroelectronics *****END OF FILE****/
